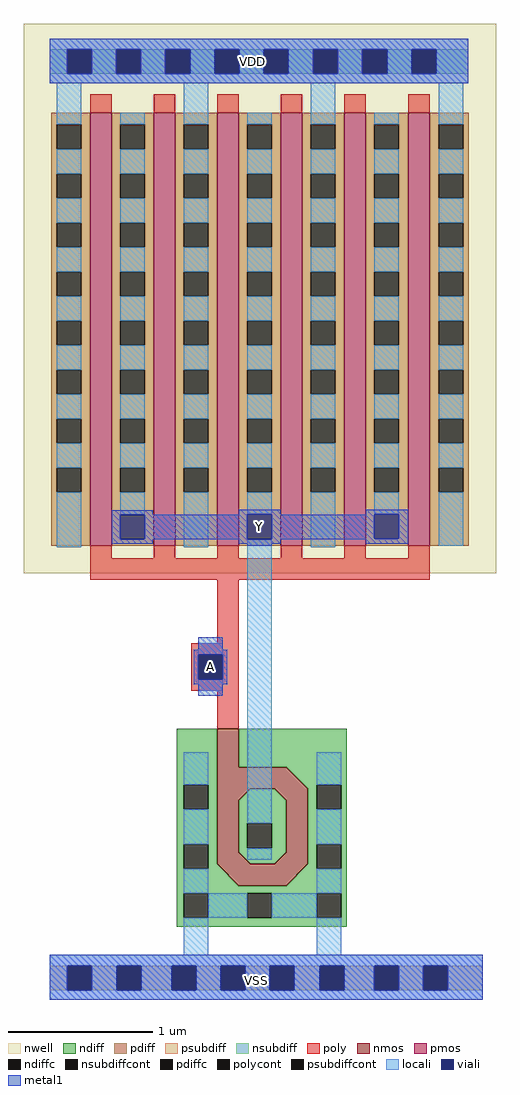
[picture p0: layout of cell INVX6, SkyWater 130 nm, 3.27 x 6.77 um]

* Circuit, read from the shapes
.subckt INVX6 A VDD VSS Y
XM1 VSS A Y VSS sky130_fd_pr__nfet_01v8 w=2.49 l=0.1473
XM2 Y A VDD VDD sky130_fd_pr__pfet_01v8 w=3 l=0.15 m=6
.ends

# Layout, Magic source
magic
tech sky130A
magscale 1 2
<< nwell >>
rect -36 591 619 1353
<< nmos >>
rect 232 322 262 375
rect 232 292 328 322
tri 328 292 358 322 sw
rect 232 188 262 292
tri 262 276 278 292 nw
tri 312 276 328 292 ne
tri 262 188 278 204 sw
tri 312 188 328 204 se
rect 328 188 358 292
tri 232 158 262 188 ne
rect 262 158 328 188
tri 328 158 358 188 nw
<< pmos >>
rect 56 629 86 1229
rect 144 629 174 1229
rect 232 629 262 1229
rect 320 629 350 1229
rect 408 629 438 1229
rect 497 629 527 1229
<< ndiff >>
rect 176 298 232 375
rect 262 322 412 375
rect 176 264 186 298
rect 220 264 232 298
tri 328 292 358 322 ne
rect 358 298 412 322
rect 176 215 232 264
rect 176 181 186 215
rect 220 181 232 215
tri 262 276 278 292 se
rect 278 276 312 292
tri 312 276 328 292 sw
rect 262 244 328 276
rect 262 210 274 244
rect 308 210 328 244
rect 262 204 328 210
tri 262 188 278 204 ne
rect 278 188 312 204
tri 312 188 328 204 nw
rect 358 264 370 298
rect 404 264 412 298
rect 358 215 412 264
rect 176 158 232 181
tri 232 158 262 188 sw
tri 328 158 358 188 se
rect 358 181 370 215
rect 404 181 412 215
rect 358 158 412 181
rect 176 147 412 158
rect 176 113 186 147
rect 220 113 274 147
rect 308 113 370 147
rect 404 113 412 147
rect 176 101 412 113
<< pdiff >>
rect 2 1213 56 1229
rect 2 1179 10 1213
rect 44 1179 56 1213
rect 2 1145 56 1179
rect 2 1111 10 1145
rect 44 1111 56 1145
rect 2 1077 56 1111
rect 2 1043 10 1077
rect 44 1043 56 1077
rect 2 1009 56 1043
rect 2 975 10 1009
rect 44 975 56 1009
rect 2 941 56 975
rect 2 907 10 941
rect 44 907 56 941
rect 2 873 56 907
rect 2 839 10 873
rect 44 839 56 873
rect 2 805 56 839
rect 2 771 10 805
rect 44 771 56 805
rect 2 737 56 771
rect 2 703 10 737
rect 44 703 56 737
rect 2 629 56 703
rect 86 1213 144 1229
rect 86 1179 98 1213
rect 132 1179 144 1213
rect 86 1145 144 1179
rect 86 1111 98 1145
rect 132 1111 144 1145
rect 86 1077 144 1111
rect 86 1043 98 1077
rect 132 1043 144 1077
rect 86 1009 144 1043
rect 86 975 98 1009
rect 132 975 144 1009
rect 86 941 144 975
rect 86 907 98 941
rect 132 907 144 941
rect 86 873 144 907
rect 86 839 98 873
rect 132 839 144 873
rect 86 805 144 839
rect 86 771 98 805
rect 132 771 144 805
rect 86 737 144 771
rect 86 703 98 737
rect 132 703 144 737
rect 86 629 144 703
rect 174 1213 232 1229
rect 174 1179 186 1213
rect 220 1179 232 1213
rect 174 1145 232 1179
rect 174 1111 186 1145
rect 220 1111 232 1145
rect 174 1077 232 1111
rect 174 1043 186 1077
rect 220 1043 232 1077
rect 174 1009 232 1043
rect 174 975 186 1009
rect 220 975 232 1009
rect 174 941 232 975
rect 174 907 186 941
rect 220 907 232 941
rect 174 873 232 907
rect 174 839 186 873
rect 220 839 232 873
rect 174 805 232 839
rect 174 771 186 805
rect 220 771 232 805
rect 174 737 232 771
rect 174 703 186 737
rect 220 703 232 737
rect 174 629 232 703
rect 262 1213 320 1229
rect 262 1179 274 1213
rect 308 1179 320 1213
rect 262 1145 320 1179
rect 262 1111 274 1145
rect 308 1111 320 1145
rect 262 1077 320 1111
rect 262 1043 274 1077
rect 308 1043 320 1077
rect 262 1009 320 1043
rect 262 975 274 1009
rect 308 975 320 1009
rect 262 941 320 975
rect 262 907 274 941
rect 308 907 320 941
rect 262 873 320 907
rect 262 839 274 873
rect 308 839 320 873
rect 262 805 320 839
rect 262 771 274 805
rect 308 771 320 805
rect 262 737 320 771
rect 262 703 274 737
rect 308 703 320 737
rect 262 629 320 703
rect 350 1213 408 1229
rect 350 1179 362 1213
rect 396 1179 408 1213
rect 350 1145 408 1179
rect 350 1111 362 1145
rect 396 1111 408 1145
rect 350 1077 408 1111
rect 350 1043 362 1077
rect 396 1043 408 1077
rect 350 1009 408 1043
rect 350 975 362 1009
rect 396 975 408 1009
rect 350 941 408 975
rect 350 907 362 941
rect 396 907 408 941
rect 350 873 408 907
rect 350 839 362 873
rect 396 839 408 873
rect 350 805 408 839
rect 350 771 362 805
rect 396 771 408 805
rect 350 737 408 771
rect 350 703 362 737
rect 396 703 408 737
rect 350 629 408 703
rect 438 1213 497 1229
rect 438 1179 450 1213
rect 484 1179 497 1213
rect 438 1145 497 1179
rect 438 1111 450 1145
rect 484 1111 497 1145
rect 438 1077 497 1111
rect 438 1043 450 1077
rect 484 1043 497 1077
rect 438 1009 497 1043
rect 438 975 450 1009
rect 484 975 497 1009
rect 438 941 497 975
rect 438 907 450 941
rect 484 907 497 941
rect 438 873 497 907
rect 438 839 450 873
rect 484 839 497 873
rect 438 805 497 839
rect 438 771 450 805
rect 484 771 497 805
rect 438 737 497 771
rect 438 703 450 737
rect 484 703 497 737
rect 438 629 497 703
rect 527 1213 581 1229
rect 527 1179 539 1213
rect 573 1179 581 1213
rect 527 1145 581 1179
rect 527 1111 539 1145
rect 573 1111 581 1145
rect 527 1077 581 1111
rect 527 1043 539 1077
rect 573 1043 581 1077
rect 527 1009 581 1043
rect 527 975 539 1009
rect 573 975 581 1009
rect 527 941 581 975
rect 527 907 539 941
rect 573 907 581 941
rect 527 873 581 907
rect 527 839 539 873
rect 573 839 581 873
rect 527 805 581 839
rect 527 771 539 805
rect 573 771 581 805
rect 527 737 581 771
rect 527 703 539 737
rect 573 703 581 737
rect 527 629 581 703
<< ndiffc >>
rect 186 264 220 298
rect 186 181 220 215
rect 274 210 308 244
rect 370 264 404 298
rect 370 181 404 215
rect 186 113 220 147
rect 274 113 308 147
rect 370 113 404 147
<< pdiffc >>
rect 10 1179 44 1213
rect 10 1111 44 1145
rect 10 1043 44 1077
rect 10 975 44 1009
rect 10 907 44 941
rect 10 839 44 873
rect 10 771 44 805
rect 10 703 44 737
rect 98 1179 132 1213
rect 98 1111 132 1145
rect 98 1043 132 1077
rect 98 975 132 1009
rect 98 907 132 941
rect 98 839 132 873
rect 98 771 132 805
rect 98 703 132 737
rect 186 1179 220 1213
rect 186 1111 220 1145
rect 186 1043 220 1077
rect 186 975 220 1009
rect 186 907 220 941
rect 186 839 220 873
rect 186 771 220 805
rect 186 703 220 737
rect 274 1179 308 1213
rect 274 1111 308 1145
rect 274 1043 308 1077
rect 274 975 308 1009
rect 274 907 308 941
rect 274 839 308 873
rect 274 771 308 805
rect 274 703 308 737
rect 362 1179 396 1213
rect 362 1111 396 1145
rect 362 1043 396 1077
rect 362 975 396 1009
rect 362 907 396 941
rect 362 839 396 873
rect 362 771 396 805
rect 362 703 396 737
rect 450 1179 484 1213
rect 450 1111 484 1145
rect 450 1043 484 1077
rect 450 975 484 1009
rect 450 907 484 941
rect 450 839 484 873
rect 450 771 484 805
rect 450 703 484 737
rect 539 1179 573 1213
rect 539 1111 573 1145
rect 539 1043 573 1077
rect 539 975 573 1009
rect 539 907 573 941
rect 539 839 573 873
rect 539 771 573 805
rect 539 703 573 737
<< psubdiff >>
rect 0 13 24 47
rect 58 13 93 47
rect 127 13 169 47
rect 203 13 237 47
rect 271 13 305 47
rect 339 13 374 47
rect 408 13 450 47
rect 484 13 518 47
rect 552 13 600 47
<< nsubdiff >>
rect 0 1283 24 1317
rect 58 1283 92 1317
rect 126 1283 160 1317
rect 195 1283 229 1317
rect 263 1283 297 1317
rect 331 1283 365 1317
rect 399 1283 433 1317
rect 468 1283 502 1317
rect 536 1283 580 1317
<< psubdiffcont >>
rect 24 13 58 47
rect 93 13 127 47
rect 169 13 203 47
rect 237 13 271 47
rect 305 13 339 47
rect 374 13 408 47
rect 450 13 484 47
rect 518 13 552 47
<< nsubdiffcont >>
rect 24 1283 58 1317
rect 92 1283 126 1317
rect 160 1283 195 1317
rect 229 1283 263 1317
rect 297 1283 331 1317
rect 365 1283 399 1317
rect 433 1283 468 1317
rect 502 1283 536 1317
<< poly >>
rect 56 1229 86 1255
rect 144 1229 174 1255
rect 232 1229 262 1255
rect 320 1229 350 1255
rect 408 1229 438 1255
rect 497 1229 527 1255
rect 56 612 86 629
rect 144 612 174 629
rect 232 612 262 629
rect 320 612 350 629
rect 408 612 438 629
rect 497 612 527 629
rect 56 582 527 612
rect 232 494 262 582
rect 196 478 262 494
rect 196 444 206 478
rect 240 444 262 478
rect 196 428 262 444
rect 232 375 262 428
<< polycont >>
rect 206 444 240 478
<< locali >>
rect 0 1317 580 1332
rect 0 1283 24 1317
rect 58 1283 92 1317
rect 126 1283 160 1317
rect 195 1283 229 1317
rect 263 1283 297 1317
rect 331 1283 365 1317
rect 399 1283 433 1317
rect 468 1283 502 1317
rect 536 1283 580 1317
rect 0 1270 580 1283
rect 10 1213 44 1270
rect 10 1145 44 1179
rect 10 1077 44 1111
rect 10 1009 44 1043
rect 10 941 44 975
rect 10 873 44 907
rect 10 805 44 839
rect 10 737 44 771
rect 10 627 44 703
rect 98 1213 132 1229
rect 98 1145 132 1179
rect 98 1077 132 1111
rect 98 1009 132 1043
rect 98 941 132 975
rect 98 873 132 907
rect 98 805 132 839
rect 98 737 132 771
rect 98 672 132 703
rect 186 1213 220 1270
rect 186 1145 220 1179
rect 186 1077 220 1111
rect 186 1009 220 1043
rect 186 941 220 975
rect 186 873 220 907
rect 186 805 220 839
rect 186 737 220 771
rect 186 627 220 703
rect 274 1213 308 1229
rect 274 1145 308 1179
rect 274 1077 308 1111
rect 274 1009 308 1043
rect 274 941 308 975
rect 274 873 308 907
rect 274 805 308 839
rect 274 737 308 771
rect 274 673 308 703
rect 206 478 240 494
rect 206 428 240 444
rect 186 298 220 343
rect 186 215 220 264
rect 274 244 308 638
rect 362 1213 396 1270
rect 362 1145 396 1179
rect 362 1077 396 1111
rect 362 1009 396 1043
rect 362 941 396 975
rect 362 873 396 907
rect 362 805 396 839
rect 362 737 396 771
rect 362 627 396 703
rect 450 1213 484 1229
rect 450 1145 484 1179
rect 450 1077 484 1111
rect 450 1009 484 1043
rect 450 941 484 975
rect 450 873 484 907
rect 450 805 484 839
rect 450 737 484 771
rect 450 673 484 703
rect 539 1213 573 1270
rect 539 1145 573 1179
rect 539 1077 573 1111
rect 539 1009 573 1043
rect 539 941 573 975
rect 539 873 573 907
rect 539 805 573 839
rect 539 737 573 771
rect 539 629 573 703
rect 274 194 308 210
rect 370 298 404 343
rect 370 215 404 264
rect 186 147 220 181
rect 370 147 404 181
rect 220 113 274 147
rect 308 113 370 147
rect 186 62 220 113
rect 370 62 404 113
rect 0 47 600 62
rect 0 13 24 47
rect 58 13 93 47
rect 127 13 169 47
rect 203 13 237 47
rect 271 13 305 47
rect 339 13 374 47
rect 408 13 450 47
rect 484 13 518 47
rect 552 13 600 47
rect 0 0 600 13
<< viali >>
rect 24 1283 58 1317
rect 92 1283 126 1317
rect 160 1283 195 1317
rect 229 1283 263 1317
rect 297 1283 331 1317
rect 365 1283 399 1317
rect 433 1283 468 1317
rect 502 1283 536 1317
rect 98 638 132 672
rect 274 638 308 673
rect 206 444 240 478
rect 450 639 484 673
rect 24 13 58 47
rect 93 13 127 47
rect 169 13 203 47
rect 237 13 271 47
rect 305 13 339 47
rect 374 13 408 47
rect 450 13 484 47
rect 518 13 552 47
<< metal1 >>
rect 0 1317 580 1332
rect 0 1283 24 1317
rect 58 1283 92 1317
rect 126 1283 160 1317
rect 195 1283 229 1317
rect 263 1283 297 1317
rect 331 1283 365 1317
rect 399 1283 433 1317
rect 468 1283 502 1317
rect 536 1283 580 1317
rect 0 1270 580 1283
rect 86 672 143 678
rect 262 673 320 679
rect 262 672 274 673
rect 86 638 98 672
rect 132 638 274 672
rect 308 672 320 673
rect 438 673 497 679
rect 438 672 450 673
rect 308 639 450 672
rect 484 639 497 673
rect 308 638 497 639
rect 86 632 143 638
rect 262 632 320 638
rect 438 632 497 638
rect 274 629 308 632
rect 206 485 240 502
rect 200 478 246 485
rect 200 444 206 478
rect 240 444 246 478
rect 200 437 246 444
rect 206 421 240 437
rect 0 47 600 62
rect 0 13 24 47
rect 58 13 93 47
rect 127 13 169 47
rect 203 13 237 47
rect 271 13 305 47
rect 339 13 374 47
rect 408 13 450 47
rect 484 13 518 47
rect 552 13 600 47
rect 0 0 600 13
<< labels >>
rlabel metal1 206 444 240 478 1 A
port 1 n
rlabel metal1 281 1301 281 1301 1 VDD
port 2 n
rlabel metal1 287 26 287 26 1 VSS
port 3 n
rlabel metal1 274 638 308 673 1 Y
port 4 n
<< end >>
